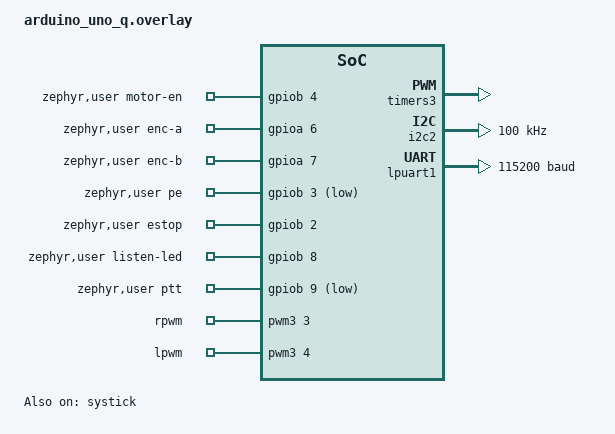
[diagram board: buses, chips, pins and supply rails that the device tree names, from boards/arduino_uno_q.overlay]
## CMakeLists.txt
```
cmake_minimum_required(VERSION 3.20.0)
find_package(Zephyr REQUIRED HINTS $ENV{ZEPHYR_BASE})
project(eaa_mcu LANGUAGES C CXX)

target_include_directories(app PRIVATE src)
target_sources(app PRIVATE
  src/main.c
  src/proto/crc16.c
  src/proto/cobs.c
  src/proto/b03.c
  src/bridge.c
  src/safety.c
  src/control.c
  src/motor.c
  src/encoder.c
  src/sensors.c
)

if(CONFIG_EAA_VOICE)
  target_sources(app PRIVATE src/voice/voice.c src/voice/audio_out.c)
  if(CONFIG_SOC_SERIES_RP2350)
    target_sources(app PRIVATE src/voice/i2s_in_rp2.c)
  else()
    message(FATAL_ERROR "No microphone driver for this board: implement voice/audio_in.h "
                        "with the Zephyr I2S/DMIC API (e.g. STM32U585 SAI)")
  endif()

  if(CONFIG_EAA_KWS_EDGE_IMPULSE)
    set(EI_DIR ${CMAKE_CURRENT_SOURCE_DIR}/ei-model)
    if(NOT EXISTS ${EI_DIR}/edge-impulse-sdk)
      message(FATAL_ERROR "CONFIG_EAA_KWS_EDGE_IMPULSE=y but ${EI_DIR} has no Edge Impulse export")
    endif()
    # Edge Impulse SDK ships a Zephyr CMake helper that adds the SDK sources to 'app'.
    add_subdirectory(${EI_DIR}/edge-impulse-sdk/cmake/zephyr ei_sdk)
    target_include_directories(app PRIVATE ${EI_DIR})
    file(GLOB EI_MODEL_SRC ${EI_DIR}/tflite-model/*.cpp)
    target_sources(app PRIVATE ${EI_MODEL_SRC} src/voice/kws_ei.cpp)
    target_compile_definitions(app PRIVATE
      EI_CLASSIFIER_SLICES_PER_MODEL_WINDOW=4
      EI_CLASSIFIER_TFLITE_ENABLE_CMSIS_NN=1)
  elseif(NOT CONFIG_EAA_KWS_TFLM)
    target_sources(app PRIVATE src/voice/kws_stub.c)
  endif()
endif()

# Wake word "Hey Edgie": MFCC + energy VAD + DS-CNN int8 on TFLite Micro / CMSIS-NN.
if(CONFIG_EAA_KWS_TFLM)
  target_sources(app PRIVATE
    src/voice/kws_frontend.c
    src/voice/kws_pipeline.c
    src/voice/kws_engine.cpp
    src/voice/model/kws_s.cc
    src/voice/model/kws_xs.cc)
  if(CONFIG_EAA_KWS_CMSIS_DSP)
    target_compile_definitions(app PRIVATE KWS_FE_CMSIS_DSP)
  endif()
  if(CONFIG_EAA_KWS_CODE_IN_RAM)
    # RP2350 executes from QSPI flash through a 16 KB XIP cache; the hot DSP / NN
    # kernels and the front end are copied to SRAM at boot instead.
    # Only the files on the hot path (relocating whole libraries drags every
    # object and its tables into RAM). Code goes to SRAM, constant tables stay in flash.
    set(NN ${ZEPHYR_CMSIS_NN_MODULE_DIR}/Source)
    set(DSP ${ZEPHYR_CMSIS_DSP_MODULE_DIR}/Source)
    file(GLOB KWS_HOT_NN ${NN}/ConvolutionFunctions/*.c ${NN}/NNSupportFunctions/*.c
         ${NN}/FullyConnectedFunctions/*.c)
    zephyr_code_relocate(FILES ${CMAKE_CURRENT_SOURCE_DIR}/src/voice/kws_frontend.c
                         ${DSP}/TransformFunctions/arm_rfft_fast_f32.c
                         ${DSP}/TransformFunctions/arm_cfft_f32.c
                         ${DSP}/TransformFunctions/arm_cfft_radix8_f32.c
                         ${DSP}/TransformFunctions/arm_bitreversal2.c
                         ${DSP}/ComplexMathFunctions/arm_cmplx_mag_squared_f32.c
                         ${KWS_HOT_NN}
                         LOCATION RAM_TEXT)
  endif()
  if(CONFIG_EAA_KWS_BENCH)
    target_sources(app PRIVATE src/voice/kws_bench.c src/voice/model/kws_bench_clips.cc
        src/voice/model/kws_ei.cc src/voice/model/kws_tiny.cc
        src/voice/model/kws_cnn.cc src/voice/model/kws_tcres8.cc)
  endif()
endif()
```

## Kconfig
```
# EAA MCU firmware options. Defaults follow orchestrator:src/control_pipeline/config_example.yaml
# and the B-03 v1.1 timers. Board-independent: the same values are used on the STM32U585 later.

mainmenu "EAA MCU firmware (B-03 v1.1)"

source "Kconfig.zephyr"

menu "EAA firmware"

config EAA_FW_VERSION
	hex "Firmware version reported in HELLO_ACK"
	default 0x0100

menu "Link and safety timers"

config EAA_HB_TIMEOUT_MS
	int "MPU heartbeat watchdog (ms)"
	default 300
	help
	  No HEARTBEAT/HELLO for this long: HB_VALID is cleared and a running
	  belt goes to SAFE_STOP with event HEARTBEAT_TIMEOUT (same as mock_mcu.py).

config EAA_TELEMETRY_PERIOD_MS
	int "TELEMETRY period (ms)"
	default 50

config EAA_EVENT_RETX_MS
	int "Event retransmit interval until EVENT_ACK (ms)"
	default 100

config EAA_EVENT_RETX_MAX
	int "Maximum retransmissions per event"
	default 20

config EAA_HW_WATCHDOG_MS
	int "Hardware watchdog timeout (ms), 0 = disabled"
	default 500

endmenu

menu "Motor and limits"

config EAA_CONTROL_PERIOD_US
	int "Control loop period (us)"
	default 10000
	help
	  10000 us = 100 Hz. Chosen from the belt, not from the stop path:
	  - this phase is open loop (no encoder): the loop only ramps the setpoint
	    (250 mm/s per s -> 2.5 mm/s per tick, smooth) and keeps the driver
	    off in SAFE_STOP; a geared 24 V belt responds in tens of ms, so
	    100 Hz is >= 3x faster than anything the belt can follow;
	  - the hard stop (T1) does not wait for this loop: safety trips and the
	    E-stop interrupt cut the driver directly (motor_kill).
	  NFR-01 jitter <= 1 ms is 10 % of this period. Derivation and the
	  numbers to re-check once the belt is measured: REPORT.md section
	  "Control loop rate". 5000 (200 Hz) still builds and passes the tests.

config EAA_PWM_PERIOD_NS
	int "Motor PWM period (ns)"
	default 50000
	help
	  50000 ns = 20 kHz, above the audible range, within BTS7960 limits.

config EAA_MIN_SPEED_MMS
	int "Minimum accepted setpoint (mm/s)"
	default 50

config EAA_MAX_SPEED_MMS
	int "Maximum accepted setpoint (mm/s)"
	default 500

config EAA_RAMP_MMS_PER_S
	int "Setpoint ramp (mm/s per second)"
	default 250

config EAA_OPENLOOP_PWM_OFFSET_PM
	int "Open-loop feed-forward: PWM offset (per mille)"
	default 100

config EAA_OPENLOOP_PWM_GAIN_X100
	int "Open-loop feed-forward: PWM per mille per mm/s, x100"
	default 180
	help
	  pwm_pm = offset + gain/100 * setpoint_mms. Calibrate on the belt
	  (measure mm/s at several duty values) until the encoder is fitted.

config EAA_MAX_PWM_PM
	int "PWM ceiling (per mille)"
	default 950

config EAA_MAX_CURRENT_MA
	int "Overcurrent trip (mA), invariant I-3"
	default 2500

config EAA_OVERCURRENT_FILTER_MS
	int "Overcurrent must last this long before a trip (ms)"
	default 60
	help
	  Ignores the motor start-up current spike.

config EAA_MAX_TEMP_C10
	int "Overtemperature trip (0.1 degC)"
	default 800

config EAA_JAM_TIMEOUT_MS
	int "Photoelectric sensor blocked this long while running = jam (ms)"
	default 3000

endmenu

menu "Encoder"

config EAA_ENCODER
	bool "Quadrature encoder fitted (closed-loop speed)"
	default n
	help
	  CH-107: the encoder is not fitted yet. When n, speed is open-loop and
	  the reported speed_mms is the ramped setpoint (an estimate).

config EAA_ENC_COUNTS_PER_REV
	int "Encoder counts per roller revolution (x4 decoding)"
	default 2400
	depends on EAA_ENCODER

config EAA_ROLLER_CIRC_UM
	int "Drive roller circumference (um)"
	default 100000
	depends on EAA_ENCODER

config EAA_SPEED_KP_X1000
	int "Speed PI: Kp (per mille PWM per mm/s, x1000)"
	default 800
	depends on EAA_ENCODER

config EAA_SPEED_KI_X1000
	int "Speed PI: Ki (per mille PWM per mm/s per s, x1000)"
	default 2000
	depends on EAA_ENCODER

endmenu

menu "Sensors"

config EAA_INA226
	bool "INA226 current sensor on the sensor I2C bus"
	default y

config EAA_INA226_ADDR
	hex "INA226 I2C address"
	default 0x40
	depends on EAA_INA226

config EAA_INA226_SHUNT_MOHM
	int "INA226 shunt resistor (milliohm)"
	default 10
	depends on EAA_INA226

config EAA_MLX90614
	bool "MLX90614 IR temperature sensor on the sensor I2C bus"
	default y

config EAA_MLX90614_ADDR
	hex "MLX90614 I2C address"
	default 0x5A
	depends on EAA_MLX90614

config EAA_REQUIRE_SENSORS
	bool "Block RUN when a fitted sensor is missing or failing"
	default y
	help
	  Set to n only on the bench before the sensors arrive. Never on the rig.

endmenu

menu "Voice front end (CH-103)"

config EAA_VOICE
	bool "Microphone, keyword spotter and command audio channel"
	default y
	select RING_BUFFER

config EAA_AUDIO_SAMPLE_RATE
	int "Microphone sample rate (Hz)"
	default 16000
	depends on EAA_VOICE

config EAA_I2S_PIN_BCK
	int "I2S bit clock GPIO (word select is the next GPIO)"
	default 12
	depends on EAA_VOICE

config EAA_I2S_PIN_SD
	int "I2S data-in GPIO"
	default 14
	depends on EAA_VOICE

config EAA_MIC_GAIN_SHIFT
	int "24-bit to 16-bit conversion right shift (smaller = louder)"
	default 7
	range 0 8
	depends on EAA_VOICE

config EAA_CMD_WINDOW_MS
	int "Command audio window after the wake word (ms)"
	default 5000
	depends on EAA_VOICE

config EAA_KWS_TFLM
	bool "On-device wake word 'Hey Edgie' (TFLite Micro DS-CNN, CMSIS-NN)"
	default y
	select TENSORFLOW_LITE_MICRO
	select TENSORFLOW_LITE_MICRO_CMSIS_NN_KERNELS
	help
	  Always-on wake-word pipeline on the MCU (embedded/kws/README.md).
	  Independent of EAA_VOICE so the model can be benchmarked with
	  "kws bench" on a board without a microphone (e.g. the UNO Q).

if EAA_KWS_TFLM

choice EAA_KWS_MODEL
	prompt "Wake-word model used live"
	default EAA_KWS_MODEL_S

config EAA_KWS_MODEL_S
	bool "DS-CNN-S (64 channels, 4 blocks)"

config EAA_KWS_MODEL_XS
	bool "DS-CNN-XS (32 channels, 3 blocks)"

endchoice

config EAA_KWS_STRIDE_HOPS
	int "Run the model every N hops of 20 ms"
	default 5
	range 4 12
	help
	  Wake latency is the priority. Measured on the Pico 2: DS-CNN-S takes
	  ~65 ms per run, so 5 hops (100 ms) uses ~65 % of the core while someone
	  speaks (0 % in silence, the VAD gate stops it). The motor loop and the
	  safety/link threads have higher priority, so they are not delayed.
	  Stream test (kws/eval_stream.py, held-out voices), with threshold 95:
	  wake latency after the phrase p50 80 ms / p90 233 ms, FRR 9.0 %,
	  19.8 false wakes/h of non-stop speech. The old 10 hops + threshold 80:
	  p50 222 / p90 336 ms, FRR 10.8 %, 19.8 /h. Below 4 hops the 65 ms model
	  would not fit between runs.

config EAA_KWS_SMOOTH
	int "Average of the last N model scores"
	default 2
	range 1 8

config EAA_KWS_VAD_DB
	int "VAD: frame energy above the noise floor that counts as speech (dB)"
	default 9

config EAA_KWS_ARENA_KB
	int "TFLite Micro tensor arena (KiB)"
	default 32

config EAA_KWS_MODEL_RAM_KB
	int "Copy the live model to SRAM (KiB buffer, 0 = run from flash)"
	default 80 if EAA_KWS_BENCH
	default 48
	help
	  48 KiB fits DS-CNN-S (44.9 KB). The bench build uses 80 KiB so the
	  bigger comparison models (CNN-S, TC-ResNet8) also run from SRAM.

config EAA_KWS_CODE_IN_RAM
	bool "Run the MFCC, CMSIS-DSP and CMSIS-NN code from SRAM"
	default n
	select CODE_DATA_RELOCATION
	help
	  Measured on the Pico 2: no gain (DS-CNN-S 62.9 ms either way, MFCC
	  unchanged) for +75 KB of SRAM, so it stays off. Kept for the record.

config EAA_KWS_CMSIS_DSP
	bool "CMSIS-DSP real FFT for the MFCC (else portable C FFT)"
	default y
	select CMSIS_DSP
	select CMSIS_DSP_TRANSFORM
	select CMSIS_DSP_COMPLEXMATH

config EAA_KWS_BENCH
	bool "Benchmark clips in flash + 'kws bench' / 'kws stream' shell commands"
	default y

endif

config EAA_RP2350_DSP
	bool "Enable the Cortex-M33 DSP extension on the RP2350"
	default y
	depends on SOC_SERIES_RP2350
	select ARMV8_M_DSP
	help
	  The RP2350's Cortex-M33 has the DSP (SIMD) extension, but Zephyr v4.2
	  builds it with -mcpu=cortex-m33+nodsp, so CMSIS-NN falls back to plain
	  C kernels (measured: DS-CNN-S 89.8 ms -> see the report). The STM32U585
	  SoC selects ARMV8_M_DSP itself.

config EAA_KWS_THRESHOLD_PCT
	int "Keyword confidence needed to act (%)"
	default 95 if EAA_KWS_TFLM
	default 80
	depends on EAA_VOICE || EAA_KWS_TFLM

config EAA_KWS_EDGE_IMPULSE
	bool "Use the Edge Impulse C++ model in firmware/ei-model/"
	default n
	depends on EAA_VOICE && !EAA_KWS_TFLM
	help
	  When n, a stub detector is used: the push-to-talk button (or the
	  shell command "eaa wake") opens the command window, and spoken
	  "stop" is not detected. Export the trained model as a C++ library
	  into firmware/ei-model/ and set this to y.

config EAA_KWS_LABEL_WAKE
	string "Edge Impulse label of the wake phrase"
	default "wake"
	depends on EAA_KWS_EDGE_IMPULSE

config EAA_KWS_LABEL_STOP
	string "Edge Impulse label of the stop word"
	default "stop"
	depends on EAA_KWS_EDGE_IMPULSE

config EAA_KWS_MODEL_VER
	hex "Model version reported in VOICE_EVENT"
	default 0x0001
	depends on EAA_VOICE

endmenu

endmenu
```

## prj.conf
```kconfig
# Board-independent configuration (also meant for the STM32U585 later).
CONFIG_GPIO=y
CONFIG_PWM=y
CONFIG_I2C=y
CONFIG_SERIAL=y
CONFIG_UART_INTERRUPT_DRIVEN=y
CONFIG_WATCHDOG=y
CONFIG_RING_BUFFER=y
CONFIG_FPU=y

CONFIG_MAIN_STACK_SIZE=2048
CONFIG_SYSTEM_WORKQUEUE_STACK_SIZE=2048
CONFIG_ISR_STACK_SIZE=2048
CONFIG_HEAP_MEM_POOL_SIZE=8192

CONFIG_LOG=y
CONFIG_LOG_MODE_DEFERRED=y
CONFIG_LOG_BACKEND_UART=y

CONFIG_SHELL=y
CONFIG_SHELL_BACKEND_SERIAL=y
CONFIG_SHELL_LOG_BACKEND=n
CONFIG_SHELL_STACK_SIZE=4096

CONFIG_CPP=y
CONFIG_STD_CPP17=y

# Wake word (TFLite Micro needs the full C++ library)
CONFIG_REQUIRES_FULL_LIBCPP=y
# -O2 instead of -Os: MFCC + CMSIS-NN kernels run ~2x faster, flash is plentiful
CONFIG_SPEED_OPTIMIZATIONS=y
```

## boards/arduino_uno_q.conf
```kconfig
# UNO Q (STM32U585) specifics.
# SysTick instead of LPTIM1 as the system timer (see arduino_uno_q.overlay), 10 kHz tick
# so the 5 ms control period is exactly 50 ticks.
CONFIG_STM32_LPTIM_TIMER=n
CONFIG_CORTEX_M_SYSTICK=y
CONFIG_SYS_CLOCK_TICKS_PER_SEC=10000

# No microphone driver for the STM32U585 yet (needs a Zephyr SAI/I2S version of
# voice/audio_in.h and a check that SAI pins reach a header, CH-103).
CONFIG_EAA_VOICE=n
```

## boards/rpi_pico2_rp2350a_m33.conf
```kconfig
# Pico 2 only: USB CDC ACM (console + audio channel), PIO for the microphone.
CONFIG_USB_DEVICE_STACK=y
CONFIG_USB_DEVICE_PRODUCT="EAA MCU (Pico 2)"
CONFIG_USB_DEVICE_PID=0x0001
CONFIG_USB_DEVICE_INITIALIZE_AT_BOOT=n
CONFIG_UART_LINE_CTRL=y
CONFIG_USB_DRIVER_LOG_LEVEL_ERR=y
CONFIG_USB_DEVICE_LOG_LEVEL_ERR=y
CONFIG_USB_CDC_ACM_LOG_LEVEL_OFF=y
```

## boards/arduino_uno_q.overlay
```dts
/*
 * EAA MCU pin map on the Arduino UNO Q (STM32U585, the real target).
 * Same node/property names as rpi_pico2_rp2350a_m33.overlay, so the C code is unchanged.
 * Pins are on the UNO R3-style header so the Pico 2 wiring maps 1:1.
 *
 *  Function              Pico 2   UNO Q header   STM32U585
 *  B-03 link to MPU      GP0/GP1  (internal)     LPUART1 PG7/PG8 -> Linux side (ttyHS1)
 *  BTS7960 RPWM          GP2      D3             PB0  TIM3_CH3
 *  BTS7960 LPWM          GP3      D6             PB1  TIM3_CH4
 *  BTS7960 R_EN+L_EN     GP4      D8             PB4  (10k pull-down to GND)
 *  encoder A / B         GP6/GP7  A2 / A3        PA6 / PA7
 *  I2C SDA / SCL         GP8/GP9  SDA / SCL      PB11 / PB10  I2C2 (100 kHz, MLX90614)
 *  E18-D80NK beam        GP10     D2             PB3
 *  E-stop aux NC         GP11     D7             PB2
 *  listening LED         GP15     D9             PB8
 *  push-to-talk          GP16     D10            PB9
 *  heartbeat LED         GP25     on-board RGB LED3 green
 *  console / shell       USB CDC0 D0/D1          USART1 PB7/PB6
 *  microphone            GP12-14  not mapped yet (SAI pins on JMISC must be checked, CH-103)
 */

/ {
	chosen {
		eaa,bridge-uart = &lpuart1;
		eaa,sensor-i2c = &i2c2;
		/* 200 Hz control loop needs a fine tick: use SysTick (160 MHz) instead of
		 * the board's 32 kHz LPTIM1 (4096 ticks/s -> a 5 ms period becomes 5.13 ms). */
		/delete-property/ zephyr,system-timer;
	};

	zephyr,user {
		pwms = <&pwm3 3 PWM_NSEC(50000) PWM_POLARITY_NORMAL>,
		       <&pwm3 4 PWM_NSEC(50000) PWM_POLARITY_NORMAL>;
		pwm-names = "rpwm", "lpwm";
		motor-en-gpios = <&gpiob 4 GPIO_ACTIVE_HIGH>;
		enc-a-gpios = <&gpioa 6 GPIO_PULL_UP>;
		enc-b-gpios = <&gpioa 7 GPIO_PULL_UP>;
		pe-gpios = <&gpiob 3 (GPIO_ACTIVE_LOW | GPIO_PULL_UP)>;
		estop-gpios = <&gpiob 2 (GPIO_ACTIVE_HIGH | GPIO_PULL_UP)>;
		listen-led-gpios = <&gpiob 8 GPIO_ACTIVE_HIGH>;
		ptt-gpios = <&gpiob 9 (GPIO_ACTIVE_LOW | GPIO_PULL_UP)>;
	};
};

&lptim1 {
	status = "disabled";
};

&systick {
	status = "okay";
};

&timers3 {
	status = "okay";
	st,prescaler = <0>;

	pwm3: pwm {
		pinctrl-0 = <&tim3_ch3_pb0 &tim3_ch4_pb1>;
		pinctrl-names = "default";
		status = "okay";
	};
};

&i2c2 {
	clock-frequency = <I2C_BITRATE_STANDARD>; /* MLX90614 SMBus: 100 kHz max */
};

&lpuart1 {
	current-speed = <115200>;
};

/* Free header pins used above */
&spi2 {
	status = "disabled"; /* PB9 = push-to-talk */
};

&adc1 {
	status = "disabled"; /* PA6/PA7 = encoder */
};
```

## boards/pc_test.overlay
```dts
/*
 * PC hardware-in-the-loop test build (Pico 2 plugged into a PC, nothing else wired).
 * Applied on top of rpi_pico2_rp2350a_m33.overlay by:  .\build.ps1 pctest
 *
 *  - B-03 bridge moves from UART0 to the second USB CDC ACM port, so the PC plays the
 *    role of the Pi (embedded/pi/hil_test.py, link_test.py). The command-audio channel
 *    is switched off in this build. (A third CDC ACM port was tried: with the legacy
 *    Zephyr USB stack on the RP2350 its OUT endpoint never accepted host data.)
 *  - E-stop and photoelectric inputs are inverted so that unwired pins (pulled up)
 *    read "E-stop closed" and "beam clear". Shorting GP11 to GND therefore means
 *    "E-stop pressed" in this build only. NEVER use this build on the rig.
 */

/ {
	chosen {
		eaa,bridge-uart = &cdc_acm_audio;
		/delete-property/ eaa,audio-uart;
	};

	zephyr,user {
		estop-gpios = <&gpio0 11 (GPIO_ACTIVE_LOW | GPIO_PULL_UP)>;
		pe-gpios = <&gpio0 10 (GPIO_ACTIVE_LOW | GPIO_PULL_UP)>;
	};
};
```

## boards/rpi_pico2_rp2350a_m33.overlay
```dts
/*
 * EAA MCU pin map on the Raspberry Pi Pico 2 (stand-in for the UNO Q STM32U585).
 * Porting: write the same nodes/properties for the UNO Q MCU board; the C code
 * only uses the names below (zephyr,user properties and the eaa,* chosen nodes).
 *
 *  GP0  UART0 TX  -> Pi 3B GPIO15 RXD (pin 10)      B-03 control link, 115200 8N1
 *  GP1  UART0 RX  <- Pi 3B GPIO14 TXD (pin 8)
 *  GP2  PWM1A     -> BTS7960 RPWM (20 kHz)
 *  GP3  PWM1B     -> BTS7960 LPWM (held at 0)
 *  GP4  output    -> BTS7960 R_EN + L_EN (external 10k pull-down to GND)
 *  GP6  input     <- encoder A  (only with CONFIG_EAA_ENCODER=y)
 *  GP7  input     <- encoder B
 *  GP8  I2C0 SDA  <-> INA226 + MLX90614 (4.7k pull-ups to 3V3)
 *  GP9  I2C0 SCL
 *  GP10 input     <- E18-D80NK output (pull-up to 3V3, low = object/beam blocked)
 *  GP11 input     <- E-stop auxiliary NC contact to GND (high = contact open = E-stop)
 *  GP12 PIO       -> I2S BCK  (mic SCK)
 *  GP13 PIO       -> I2S WS   (mic WS/LRCL)
 *  GP14 PIO       <- I2S SD   (mic SD)
 *  GP15 output    -> "listening" LED
 *  GP16 input     <- push-to-talk button to GND (test aid)
 *  GP25 on-board LED: heartbeat (slow = OK, fast = SAFE_STOP)
 *  USB  CDC ACM 0 = console/shell/log, CDC ACM 1 = command audio to the Pi
 */

/ {
	chosen {
		zephyr,console = &cdc_acm_console;
		zephyr,shell-uart = &cdc_acm_console;
		eaa,bridge-uart = &uart0;
		eaa,audio-uart = &cdc_acm_audio;
		eaa,sensor-i2c = &i2c0;
	};

	zephyr,user {
		pwms = <&pwm 2 PWM_NSEC(50000) PWM_POLARITY_NORMAL>,
		       <&pwm 3 PWM_NSEC(50000) PWM_POLARITY_NORMAL>;
		pwm-names = "rpwm", "lpwm";
		motor-en-gpios = <&gpio0 4 GPIO_ACTIVE_HIGH>;
		enc-a-gpios = <&gpio0 6 GPIO_PULL_UP>;
		enc-b-gpios = <&gpio0 7 GPIO_PULL_UP>;
		pe-gpios = <&gpio0 10 (GPIO_ACTIVE_LOW | GPIO_PULL_UP)>;
		estop-gpios = <&gpio0 11 (GPIO_ACTIVE_HIGH | GPIO_PULL_UP)>;
		listen-led-gpios = <&gpio0 15 GPIO_ACTIVE_HIGH>;
		ptt-gpios = <&gpio0 16 (GPIO_ACTIVE_LOW | GPIO_PULL_UP)>;
	};
};

&pinctrl {
	i2c0_default: i2c0_default {
		group1 {
			pinmux = <I2C0_SDA_P8>, <I2C0_SCL_P9>;
			input-enable;
			input-schmitt-enable;
		};
	};

	pwm_motor_default: pwm_motor_default {
		group1 {
			pinmux = <PWM_1A_P2>, <PWM_1B_P3>;
		};
	};
};

&uart0 {
	current-speed = <115200>;
	status = "okay";
};

&i2c0 {
	/* MLX90614 SMBus: 100 kHz max */
	clock-frequency = <I2C_BITRATE_STANDARD>;
	status = "okay";
};

/* GP6/GP7 are used by the encoder */
&i2c1 {
	status = "disabled";
};

&pwm {
	status = "okay";
	pinctrl-0 = <&pwm_motor_default>;
	pinctrl-names = "default";
	divider-int-1 = <1>;
};

&pio0 {
	status = "okay";
};

&wdt0 {
	status = "okay";
};

&zephyr_udc0 {
	cdc_acm_console: cdc_acm_console {
		compatible = "zephyr,cdc-acm-uart";
	};

	cdc_acm_audio: cdc_acm_audio {
		compatible = "zephyr,cdc-acm-uart";
	};
};
```

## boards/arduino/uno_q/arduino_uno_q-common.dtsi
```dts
/*
 * Copyright (c) 2021 Linaro Limited
 * Copyright (c) 2024 STMicroelectronics
 * Copyright (c) 2025 Arduino SA
 *
 * SPDX-License-Identifier: Apache-2.0
 */

#include <st/u5/stm32u585Xi.dtsi>
#include <st/u5/stm32u585aiixq-pinctrl.dtsi>
#include "arduino_r3_connector.dtsi"
#include <zephyr/dt-bindings/input/input-event-codes.h>

/ {
	chosen {
		zephyr,system-timer = &lptim1;
	};

	leds {
		compatible = "gpio-leds";

		led3_red: led3_red {
			gpios = <&gpioh 10 GPIO_ACTIVE_LOW>;
			label = "RGB LED 3 Red";
		};

		led3_green: led3_green {
			gpios = <&gpioh 11 GPIO_ACTIVE_LOW>;
			label = "RGB LED 3 Green";
		};

		led3_blue: led3_blue {
			gpios = <&gpioh 12 GPIO_ACTIVE_LOW>;
			label = "RGB LED 3 Blue";
		};

		led4_red: led4_red {
			gpios = <&gpioh 13 GPIO_ACTIVE_LOW>;
			label = "RGB LED 4 Red";
		};

		led4_green: led4_green {
			gpios = <&gpioh 14 GPIO_ACTIVE_LOW>;
			label = "RGB LED 4 Green";
		};

		led4_blue: led4_blue {
			gpios = <&gpioh 15 GPIO_ACTIVE_LOW>;
			label = "RGB LED 4 Blue";
		};
	};

	aliases {
		watchdog0 = &iwdg;
		die-temp0 = &die_temp;
		volt-sensor0 = &vref1;
		volt-sensor1 = &vbat4;
	};
};

&clk_hsi48 {
	status = "okay";
};

&clk_hse {
	clock-frequency = <DT_FREQ_M(16)>;
	status = "okay";
};

&clk_lse {
	clock-frequency = <32768>;
	status = "okay";
};

&clk_msis {
	msi-range = <4>;
	msi-pll-mode;
	status = "okay";
};

&pll1 {
	div-m = <1>;
	mul-n = <80>;
	div-q = <2>;
	div-r = <2>;
	clocks = <&clk_msis>;
	status = "okay";
};

&rcc {
	clocks = <&pll1>;
	clock-frequency = <DT_FREQ_M(160)>;
	ahb-prescaler = <1>;
	apb1-prescaler = <1>;
	apb2-prescaler = <1>;
	apb3-prescaler = <1>;
};

&lptim1 {
	clocks = <&rcc STM32_CLOCK(APB3, 11)>,
		 <&rcc STM32_SRC_LSE LPTIM1_SEL(3)>;
	status = "okay";
};

&lpuart1 {
	pinctrl-0 = <&lpuart1_tx_pg7 &lpuart1_rx_pg8 &lpuart1_rts_pg6 &lpuart1_cts_pg5>;
	pinctrl-names = "default";
	current-speed = <115200>;
	status = "okay";
};

&usart1 {
	pinctrl-0 = <&usart1_tx_pb6 &usart1_rx_pb7>;
	pinctrl-names = "default";
	current-speed = <115200>;
	status = "okay";
};

&i2c2 {
	pinctrl-0 = <&i2c2_scl_pb10 &i2c2_sda_pb11>;
	pinctrl-names = "default";
	scl-gpios = <&gpiob 10 GPIO_ACTIVE_HIGH>;
	sda-gpios = <&gpiob 11 GPIO_ACTIVE_HIGH>;
	clock-frequency = <I2C_BITRATE_FAST>;
	status = "okay";
};

&i2c4 {
	pinctrl-0 = <&i2c4_scl_pd12 &i2c4_sda_pd13>;
	/* use      <&i2c4_scl_pf14 &i2c4_sda_pf15> for the JMISC connector */
	pinctrl-names = "default";
	scl-gpios = <&gpiod 12 GPIO_ACTIVE_HIGH>;
	sda-gpios = <&gpiod 13 GPIO_ACTIVE_HIGH>;
	clock-frequency = <I2C_BITRATE_FAST>;
	status = "okay";
};

&spi2 {
	pinctrl-0 = <&spi2_sck_pb13 &spi2_miso_pb14 &spi2_mosi_pb15 &spi2_nss_pb9>;
	/* use      <&spi2_sck_pd1 &spi2_miso_pc2 &spi2_mosi_pc3> for the ICSP connector */
	pinctrl-names = "default";
	status = "okay";
};

&spi3 {
	pinctrl-0 = <&spi3_sck_pg9 &spi3_miso_pg10 &spi3_mosi_pb5 &spi3_nss_pg12>;
	pinctrl-names = "default";
	status = "okay";
};

&aes {
	status = "okay";
};

&rng {
	status = "okay";
};

zephyr_udc0: &usbotg_fs {
	pinctrl-0 = <&usb_otg_fs_dm_pa11 &usb_otg_fs_dp_pa12>;
	pinctrl-names = "default";
	status = "disabled";
};

&adc1 {
	pinctrl-0 = <&adc1_in9_pa4
		     &adc1_in10_pa5
		     &adc1_in11_pa6
		     &adc1_in12_pa7
		     &adc1_in2_pc1
		     &adc1_in1_pc0>;
	pinctrl-names = "default";
	st,adc-clock-source = "ASYNC"; /* EAA: v4.2 binding */
	st,adc-prescaler = <4>;

	#address-cells = <1>;
	#size-cells = <0>;
	status = "okay";

	channel@1 {
		reg = <1>;
		zephyr,gain = "ADC_GAIN_1";
		zephyr,reference = "ADC_REF_INTERNAL";
		zephyr,acquisition-time = <ADC_ACQ_TIME_MAX>;
		zephyr,resolution = <14>;
	};

	channel@2 {
		reg = <2>;
		zephyr,gain = "ADC_GAIN_1";
		zephyr,reference = "ADC_REF_INTERNAL";
		zephyr,acquisition-time = <ADC_ACQ_TIME_MAX>;
		zephyr,resolution = <14>;
	};

	channel@9 {
		reg = <9>;
		zephyr,gain = "ADC_GAIN_1";
		zephyr,reference = "ADC_REF_INTERNAL";
		zephyr,acquisition-time = <ADC_ACQ_TIME_MAX>;
		zephyr,resolution = <14>;
	};

	channel@a {
		reg = <10>;
		zephyr,gain = "ADC_GAIN_1";
		zephyr,reference = "ADC_REF_INTERNAL";
		zephyr,acquisition-time = <ADC_ACQ_TIME_MAX>;
		zephyr,resolution = <14>;
	};

	channel@b {
		reg = <11>;
		zephyr,gain = "ADC_GAIN_1";
		zephyr,reference = "ADC_REF_INTERNAL";
		zephyr,acquisition-time = <ADC_ACQ_TIME_MAX>;
		zephyr,resolution = <14>;
	};

	channel@c {
		reg = <12>;
		zephyr,gain = "ADC_GAIN_1";
		zephyr,reference = "ADC_REF_INTERNAL";
		zephyr,acquisition-time = <ADC_ACQ_TIME_MAX>;
		zephyr,resolution = <14>;
	};
};

&adc4 {
	/* needed by vbat */
	st,adc-clock-source = "ASYNC"; /* EAA: v4.2 binding */
	st,adc-prescaler = <4>;
	status = "okay";
};

&die_temp {
	status = "okay";
};

&dac1 {
	pinctrl-0 = <&dac1_out1_pa4 &dac1_out2_pa5>;
	pinctrl-names = "default";
	status = "okay";
};

&rtc {
	clocks = <&rcc STM32_CLOCK(APB3, 21)>,
		 <&rcc STM32_SRC_LSE RTC_SEL(1)>;
	status = "okay";
};

&iwdg {
	status = "okay";
};

&vref1 {
	status = "okay";
};

&vbat4 {
	status = "okay";
};

&gpiog {
	status = "okay";
};

/* EAA: the 13x8 charlieplexed LED matrix node of upstream Zephyr main was removed here,
 * because its driver/binding does not exist in Zephyr v4.2. */
```

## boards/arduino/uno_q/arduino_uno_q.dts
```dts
/*
 * Copyright (c) 2025 Arduino SA
 *
 * SPDX-License-Identifier: Apache-2.0
 */

/dts-v1/;
#include "arduino_uno_q-common.dtsi"
#include <zephyr/dt-bindings/memory-attr/memory-attr.h>
#include <zephyr/dt-bindings/memory-attr/memory-attr-arm.h>

/ {
	compatible = "arduino,uno_q";
	model = "Arduino UNO Q";

	chosen {
		zephyr,console = &usart1;
		zephyr,shell-uart = &usart1;
		zephyr,sram = &sram0;
		zephyr,flash = &flash0;
		zephyr,code-partition = &slot0_partition;
	};

	aliases {
		led0 = &led3_green;
		led1 = &led3_red;
		die-temp0 = &die_temp;
	};
};

&flash0 {
	partitions {
		compatible = "fixed-partitions";
		#address-cells = <1>;
		#size-cells = <1>;

		/*
		 * Following flash partition is dedicated to the use of stm32u585
		 * with TZEN=0 (so w/o TFM).
		 * Set the partitions with first MB to make use of the whole Bank1
		 */
		boot_partition: partition@0 {
			reg = <0x00000000 DT_SIZE_K(64)>;
			label = "mcuboot";
		};

		slot0_partition: partition@10000 {
			reg = <0x00010000 DT_SIZE_K(416)>;
			label = "image-0";
		};

		slot1_partition: partition@78000 {
			reg = <0x00078000 DT_SIZE_K(416)>;
			label = "image-1";
		};

		storage_partition: partition@e0000 {
			reg = <0x000e0000 DT_SIZE_K(128)>;
			label = "storage";
		};
	};
};

&gpdma1 {
	status = "okay";
};

&adc1 {
	status = "okay";
};
```

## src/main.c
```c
/* EAA MCU firmware - Raspberry Pi Pico 2 (RP2350, Cortex-M33, Zephyr) as a stand-in
 * for the STM32U585 MCU of the Arduino UNO Q (CH-235). Single core, Zephyr, same
 * portable APIs as the UNO Q MCU; only the devicetree overlay and voice/i2s_in_rp2.c
 * are board-specific.
 *
 * Threads (higher first):  control 200 Hz (coop) > safety 100 Hz > bridge > sensors 50 Hz
 *                          > voice / keyword spotter > shell / logging
 */
#include <stdlib.h>
#include <zephyr/kernel.h>
#include <zephyr/drivers/gpio.h>
#include <zephyr/logging/log.h>
#include <zephyr/shell/shell.h>
#include <zephyr/usb/usb_device.h>
#include "eaa.h"

LOG_MODULE_REGISTER(main, LOG_LEVEL_INF);

static const struct gpio_dt_spec status_led = GPIO_DT_SPEC_GET_OR(DT_ALIAS(led0), gpios, {0});

static void fail(const char *what, int rc)
{
	LOG_ERR("%s init failed (%d) - motor stays disabled", what, rc);
}

int main(void)
{
	int rc;

	if (IS_ENABLED(CONFIG_USB_DEVICE_STACK)) {
		(void)usb_enable(NULL); /* CDC ACM: console + audio channel */
	}
	k_sleep(K_MSEC(200));
	LOG_INF("EAA MCU fw 0x%04x, B-03 v%u, board %s", CONFIG_EAA_FW_VERSION, B03_PROTO_VER,
		CONFIG_BOARD);

	rc = motor_init(); /* first: driver disabled, PWM 0 */
	if (rc) {
		fail("motor", rc);
		return rc;
	}
	if ((rc = encoder_init())) {
		fail("encoder", rc);
	}
	if ((rc = sensors_init())) {
		fail("sensors", rc);
	}
	safety_init();
	if ((rc = bridge_init())) {
		fail("bridge", rc);
	}

	sensors_start();
	safety_start();
	control_start();
	bridge_start();
#if IS_ENABLED(CONFIG_EAA_VOICE)
	if ((rc = voice_init())) {
		fail("microphone", rc);
	}
	voice_start();
#endif

	if (status_led.port) {
		gpio_pin_configure_dt(&status_led, GPIO_OUTPUT_INACTIVE);
	}
	for (;;) { /* heartbeat LED: slow = OK, fast = SAFE_STOP */
		struct eaa_status s;

		safety_get_status(&s);
		if (status_led.port) {
			gpio_pin_toggle_dt(&status_led);
		}
		k_sleep(K_MSEC(s.state == B03_ST_SAFE_STOP ? 100 : 500));
	}
	return 0;
}

/* ---------------- shell: bench tests without the Pi ---------------- */
static const char *state_name(uint8_t s)
{
	static const char *const n[] = { "BOOT", "STOPPED", "RUNNING", "SAFE_STOP" };

	return s < ARRAY_SIZE(n) ? n[s] : "?";
}

static int cmd_status(const struct shell *sh, size_t argc, char **argv)
{
	struct eaa_status s;
	struct eaa_sensors x;
	struct eaa_control_stats c;
	struct eaa_bridge_stats b;

	ARG_UNUSED(argc);
	ARG_UNUSED(argv);
	safety_get_status(&s);
	sensors_get(&x);
	control_get_stats(&c, false);
	bridge_get_stats(&b);
	shell_print(sh, "state %s fault 0x%02x flags 0x%02x setpoint %u mm/s", state_name(s.state),
		    s.fault_reason, s.flags, s.setpoint_mms);
	shell_print(sh, "speed %u mm/s pwm %u/1000", control_speed_mms(), control_pwm_pm());
	char temp[24];

	if (x.temp_c10 == B03_TEMP_NOT_INSTALLED) {
		snprintk(temp, sizeof(temp), "not fitted");
	} else if (x.temp_c10 == B03_TEMP_FAULT) {
		snprintk(temp, sizeof(temp), "FAULT");
	} else {
		snprintk(temp, sizeof(temp), "%d.%d C", x.temp_c10 / 10, abs(x.temp_c10 % 10));
	}
	shell_print(sh, "estop %s, beam %s, current %u mA (%s), bus %u mV, temp %s, ss 0x%02x",
		    x.estop_open ? "OPEN" : "closed", x.pe_blocked ? "BLOCKED" : "clear",
		    x.current_ma,
		    !IS_ENABLED(CONFIG_EAA_INA226) ? "not fitted" : (x.current_ok ? "ok" : "FAULT"),
		    x.bus_mv, temp, x.status);
	shell_print(sh, "control loops %u, jitter max %u us, exec max %u us", c.loops,
		    c.jitter_max_us, c.exec_max_us);
	struct eaa_t1_stats t;

	motor_get_t1(&t, false);
	shell_print(sh, "T1 stops %u, direct last %u max %u us, control-tick path last %u max %u us",
		    t.count, t.last_us, t.max_us, t.loop_last_us, t.loop_max_us);
	shell_print(sh, "link %s rx %u bad_crc %u bad_cobs %u tx %u retx %u pending %u",
		    b.synced ? "synced" : "no HELLO yet", b.rx_frames, b.rx_bad_crc, b.rx_bad_cobs,
		    b.tx_frames, b.retx, b.events_pending);
	shell_print(sh, "uptime %u ms, hw watchdog %s (%d ms), board %s", k_uptime_get_32(),
		    safety_watchdog_active() ? "ON" : "off", CONFIG_EAA_HW_WATCHDOG_MS, CONFIG_BOARD);
	return 0;
}

static int cmd_wdtest(const struct shell *sh, size_t argc, char **argv)
{
	ARG_UNUSED(argc);
	ARG_UNUSED(argv);
	shell_print(sh, "simulating a firmware hang: interrupts off, spinning. "
			"The hardware watchdog must reset the chip within %d ms.",
		    CONFIG_EAA_HW_WATCHDOG_MS);
	k_sleep(K_MSEC(50));
	(void)irq_lock();
	for (;;) {
	}
	return 0;
}

/* eaa t1test: force the E-stop input "open" for 50 ms through the pad override,
 * then release it. The motor must be cut by the interrupt (T1 direct) and the
 * fault stays latched until 'eaa clear'. */
static int cmd_t1test(const struct shell *sh, size_t argc, char **argv)
{
	ARG_UNUSED(argc);
	ARG_UNUSED(argv);
	if (sensors_estop_inject(true) != 0) {
		shell_error(sh, "not supported on this board");
		return -ENOTSUP;
	}
	k_msleep(50);
	sensors_estop_inject(false);
	k_msleep(30);
	struct eaa_t1_stats t;

	motor_get_t1(&t, false);
	shell_print(sh, "T1 direct %u us (max %u), control-tick path %u us (max %u), stops %u",
		    t.last_us, t.max_us, t.loop_last_us, t.loop_max_us, t.count);
	return 0;
}

static int cmd_jitter_reset(const struct shell *sh, size_t argc, char **argv)
{
	struct eaa_control_stats c;

	ARG_UNUSED(argc);
	ARG_UNUSED(argv);
	control_get_stats(&c, true);
	{
		struct eaa_t1_stats t;

		motor_get_t1(&t, true);
	}
	shell_print(sh, "jitter stats reset");
	return 0;
}

static int local_cmd(const struct shell *sh, uint8_t type, uint16_t sp)
{
	static uint16_t id = 0xF000; /* local ids, away from the MPU's range */
	struct b03_cmd c = { .type = type, .cmd_id = id++, .ttl_ms = 500, .setpoint_mms = sp };
	uint8_t reason;
	uint8_t res;

	safety_on_hello(); /* bench mode: act as if the MPU were connected */
	res = safety_handle_cmd(&c, &reason);
	shell_print(sh, "result %u reason 0x%02x", res, reason);
	return 0;
}

static int cmd_run(const struct shell *sh, size_t argc, char **argv)
{
	return local_cmd(sh, B03_MT_RUN, argc > 1 ? (uint16_t)atoi(argv[1]) : 150);
}

static int cmd_stop(const struct shell *sh, size_t argc, char **argv)
{
	ARG_UNUSED(argc);
	ARG_UNUSED(argv);
	return local_cmd(sh, B03_MT_STOP, 0);
}

static int cmd_clear(const struct shell *sh, size_t argc, char **argv)
{
	ARG_UNUSED(argc);
	ARG_UNUSED(argv);
	return local_cmd(sh, B03_MT_CLEAR_FAULT, 0);
}

static int cmd_hb(const struct shell *sh, size_t argc, char **argv)
{
	ARG_UNUSED(argc);
	ARG_UNUSED(argv);
	safety_on_heartbeat();
	shell_print(sh, "heartbeat (valid for %d ms)", CONFIG_EAA_HB_TIMEOUT_MS);
	return 0;
}

#if IS_ENABLED(CONFIG_EAA_VOICE)
static int cmd_wake(const struct shell *sh, size_t argc, char **argv)
{
	ARG_UNUSED(argc);
	ARG_UNUSED(argv);
	voice_simulate_wake();
	shell_print(sh, "simulated wake word");
	return 0;
}

static int cmd_vstop(const struct shell *sh, size_t argc, char **argv)
{
	ARG_UNUSED(argc);
	ARG_UNUSED(argv);
	voice_simulate_stop();
	shell_print(sh, "simulated spoken stop");
	return 0;
}
#endif

#if defined(CONFIG_SOC_SERIES_RP2350)
#include <pico/bootrom.h>

static int cmd_bootsel(const struct shell *sh, size_t argc, char **argv)
{
	ARG_UNUSED(argc);
	ARG_UNUSED(argv);
	shell_print(sh, "rebooting into the USB bootloader (drive RP2350)...");
	motor_apply(false, 0);
	k_sleep(K_MSEC(100));
	unsigned int key = irq_lock();

	ARG_UNUSED(key);
	safety_watchdog_disable(); /* else the armed watchdog resets the chip out of BOOTSEL */
	reset_usb_boot(0, 0);
	return 0;
}
#endif

SHELL_STATIC_SUBCMD_SET_CREATE(eaa_cmds,
#if defined(CONFIG_SOC_SERIES_RP2350)
	SHELL_CMD(bootsel, NULL, "Reboot into the UF2 bootloader (re-flash without the button)",
		  cmd_bootsel),
#endif
	SHELL_CMD(status, NULL, "State, sensors, loop jitter, link counters", cmd_status),
	SHELL_CMD(jreset, NULL, "Reset jitter statistics", cmd_jitter_reset),
	SHELL_CMD(t1test, NULL, "Simulate an E-stop edge (pad override), report T1", cmd_t1test),
	SHELL_CMD(wdtest, NULL, "Hang the firmware on purpose (watchdog reset test)", cmd_wdtest),
	SHELL_CMD_ARG(run, NULL, "run [mm/s]  (bench only: needs 'eaa hb' within 300 ms)",
		      cmd_run, 1, 1),
	SHELL_CMD(stop, NULL, "Controlled stop", cmd_stop),
	SHELL_CMD(clear, NULL, "CLEAR_FAULT", cmd_clear),
	SHELL_CMD(hb, NULL, "Send one local heartbeat", cmd_hb),
#if IS_ENABLED(CONFIG_EAA_VOICE)
	SHELL_CMD(wake, NULL, "Simulate the wake word", cmd_wake),
	SHELL_CMD(vstop, NULL, "Simulate spoken 'stop'", cmd_vstop),
#endif
	SHELL_SUBCMD_SET_END);
SHELL_CMD_REGISTER(eaa, &eaa_cmds, "EAA MCU bench commands", NULL);
```

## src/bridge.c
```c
/* B-03 v1.1 bridge on the chosen "eaa,bridge-uart" (Pico 2: UART0 GP0/GP1 to the Pi 3B).
 *
 * Wire: COBS-encoded frame + 0x00 delimiter (PipeTransport, Profile B) at 115200 8N1.
 * RX: UART interrupt -> ring buffer -> this thread splits on 0x00, decodes, dispatches.
 * TX: only this thread writes to the UART (uart_poll_out), so frames never interleave.
 * Behaviour follows orchestrator:src/control_pipeline/bridge/mock_mcu.py:
 *   HELLO -> HELLO_ACK, HEARTBEAT -> HB_VALID, commands -> CMD_ACK, TELEMETRY every 50 ms,
 *   MCU_EVENT / VOICE_EVENT retransmitted until EVENT_ACK (each retransmit gets a new
 *   frame seq; the event_seq stays the same so the MPU can de-duplicate).
 */
#include <zephyr/kernel.h>
#include <zephyr/device.h>
#include <zephyr/drivers/uart.h>
#include <zephyr/sys/ring_buffer.h>
#include <zephyr/logging/log.h>
#include "eaa.h"
#include "proto/cobs.h"

LOG_MODULE_REGISTER(bridge, LOG_LEVEL_INF);

#define MAX_PENDING 8
#define RX_ENC_MAX  (COBS_MAX_ENCODED(B03_MAX_FRAME) + 4)

static const struct device *const uart = DEVICE_DT_GET(DT_CHOSEN(eaa_bridge_uart));

RING_BUF_DECLARE(rx_ring, 256);
static K_SEM_DEFINE(rx_sem, 0, 1);

struct ev_req {
	bool voice;
	uint8_t kind, reason_or_conf;
	int16_t observed, threshold;
	uint16_t model_ver;
};
K_MSGQ_DEFINE(ev_q, sizeof(struct ev_req), 16, 4);

struct pending {
	bool used;
	uint16_t event_seq;
	struct ev_req req;
	uint8_t mcu_state; /* state when the event happened */
	int64_t last_tx_ms;
	uint8_t tries;
};

static struct pending pend[MAX_PENDING];
static uint16_t tx_seq;
static uint16_t last_rx_seq;
static uint16_t event_seq;
static uint16_t boot_id;
static struct eaa_bridge_stats st;
static struct k_spinlock st_lock;

void bridge_get_stats(struct eaa_bridge_stats *out)
{
	k_spinlock_key_t key = k_spin_lock(&st_lock);

	*out = st;
	out->events_pending = 0;
	for (int i = 0; i < MAX_PENDING; i++) {
		out->events_pending += pend[i].used ? 1 : 0;
	}
	k_spin_unlock(&st_lock, key);
}

void bridge_emit_event(uint8_t kind, uint8_t reason, int16_t observed, int16_t threshold)
{
	struct ev_req r = { .voice = false, .kind = kind, .reason_or_conf = reason,
			    .observed = observed, .threshold = threshold };

	if (k_msgq_put(&ev_q, &r, K_NO_WAIT) != 0) {
		LOG_ERR("event queue full, kind 0x%02x lost", kind);
	}
}

void bridge_emit_voice(uint8_t kind, uint8_t confidence_pct, uint16_t model_ver)
{
	struct ev_req r = { .voice = true, .kind = kind, .reason_or_conf = confidence_pct,
			    .model_ver = model_ver };

	if (k_msgq_put(&ev_q, &r, K_NO_WAIT) != 0) {
		LOG_ERR("event queue full, voice kind %u lost", kind);
	}
}

static void uart_isr(const struct device *dev, void *user)
{
	ARG_UNUSED(user);
	uint8_t buf[32];

	while (uart_irq_update(dev) && uart_irq_is_pending(dev)) {
		if (uart_irq_rx_ready(dev)) {
			int n = uart_fifo_read(dev, buf, sizeof(buf));

			if (n > 0) {
				ring_buf_put(&rx_ring, buf, n);
				k_sem_give(&rx_sem);
			}
		}
	}
}

static void send_frame(struct b03_frame *f)
{
	uint8_t raw[B03_MAX_FRAME];
	uint8_t enc[COBS_MAX_ENCODED(B03_MAX_FRAME) + 1];
	struct eaa_status s;

	safety_get_status(&s);
	f->seq = tx_seq++;
	f->ack = last_rx_seq;
	f->tick_ms = k_uptime_get_32();
	f->flags = s.flags;
	int n = b03_encode(f, raw, sizeof(raw));

	if (n < 0) {
		return;
	}
	size_t m = cobs_encode(raw, (size_t)n, enc);

	enc[m++] = 0x00;
	for (size_t i = 0; i < m; i++) {
		uart_poll_out(uart, enc[i]);
	}
	st.tx_frames++;
}

static void send_event(struct pending *p)
{
	struct b03_frame f;

	if (p->req.voice) {
		b03_pl_voice_event(&f, p->req.kind, p->req.reason_or_conf, p->event_seq,
				   p->mcu_state, p->req.model_ver);
	} else {
		b03_pl_mcu_event(&f, p->req.kind, p->req.reason_or_conf, p->event_seq,
				 p->mcu_state, p->req.observed, p->req.threshold);
	}
	send_frame(&f);
	p->last_tx_ms = k_uptime_get();
	p->tries++;
}

static void send_telemetry(void)
{
	struct b03_frame f;
	struct eaa_status s;
	struct eaa_sensors sen;

	safety_get_status(&s);
	sensors_get(&sen);
	b03_pl_telemetry(&f, s.state, s.fault_reason, s.setpoint_mms, control_speed_mms(),
			 sen.current_ma, sen.temp_c10, sen.status, control_pwm_pm());
	send_frame(&f);
}

static void handle_frame(const struct b03_frame *f)
{
	struct b03_cmd c;
	struct b03_frame out;
	struct eaa_status s;
	int rc = b03_parse(f, &c);

	last_rx_seq = f->seq;
	if (rc == B03_R_UNKNOWN_CMD) {
		LOG_WRN("unknown msg type 0x%02x", f->type);
		return;
	}
	if (rc != 0) {
		LOG_WRN("short payload, type 0x%02x len %u", f->type, f->len);
		return;
	}

	switch (c.type) {
	case B03_MT_HELLO:
		safety_on_hello();
		safety_get_status(&s);
		b03_pl_hello_ack(&out, boot_id, CONFIG_EAA_FW_VERSION, s.state, s.fault_reason);
		send_frame(&out);
		if (!st.synced) {
			LOG_INF("HELLO from MPU, session 0x%08x, proto %u", c.session_id,
				c.proto_ver);
		}
		st.synced = true;
		break;
	case B03_MT_HEARTBEAT:
		safety_on_heartbeat();
		break;
	case B03_MT_EVENT_ACK:
		for (int i = 0; i < MAX_PENDING; i++) {
			if (pend[i].used && pend[i].event_seq == c.event_seq) {
				pend[i].used = false;
			}
		}
		break;
	default: {
		uint8_t reason;
		uint8_t result = safety_handle_cmd(&c, &reason);

		safety_get_status(&s);
		b03_pl_cmd_ack(&out, c.cmd_id, result, reason, s.state);
		send_frame(&out);
		LOG_INF("cmd 0x%02x id %u -> result %u reason 0x%02x state %u", c.type, c.cmd_id,
			result, reason, s.state);
		break;
	}
	}
}

static void process_rx(void)
{
	static uint8_t enc[RX_ENC_MAX];
	static size_t enc_len;
	static bool overflow;
	uint8_t byte;

	while (ring_buf_get(&rx_ring, &byte, 1) == 1) {
		if (byte != 0x00) {
			if (enc_len < sizeof(enc)) {
				enc[enc_len++] = byte;
			} else {
				overflow = true;
			}
			continue;
		}
		/* delimiter: one complete frame */
		if (enc_len > 0 && !overflow) {
			uint8_t raw[B03_MAX_FRAME];
			struct b03_frame f;
			int n = cobs_decode(enc, enc_len, raw, sizeof(raw));

			if (n < 0) {
				st.rx_bad_cobs++;
			} else if (b03_decode(raw, (size_t)n, &f) != B03_OK) {
				st.rx_bad_crc++;
			} else {
				st.rx_frames++;
				handle_frame(&f);
			}
		} else if (overflow) {
			st.rx_bad_cobs++;
		}
		enc_len = 0;
		overflow = false;
	}
}

static void drain_new_events(void)
{
	struct ev_req r;

	while (k_msgq_get(&ev_q, &r, K_NO_WAIT) == 0) {
		struct pending *slot = NULL;
		struct eaa_status s;

		for (int i = 0; i < MAX_PENDING; i++) {
			if (!pend[i].used) {
				slot = &pend[i];
				break;
			}
		}
		if (slot == NULL) { /* drop the oldest */
			slot = &pend[0];
			for (int i = 1; i < MAX_PENDING; i++) {
				if (pend[i].last_tx_ms < slot->last_tx_ms) {
					slot = &pend[i];
				}
			}
			LOG_WRN("pending events full, dropping event_seq %u", slot->event_seq);
		}
		safety_get_status(&s);
		event_seq = (uint16_t)(event_seq + 1);
		*slot = (struct pending){ .used = true, .event_seq = event_seq, .req = r,
					  .mcu_state = s.state };
		LOG_INF("%s event kind 0x%02x seq %u", r.voice ? "voice" : "mcu", r.kind,
			event_seq);
		send_event(slot);
	}
}

static void retransmit(int64_t now)
{
	for (int i = 0; i < MAX_PENDING; i++) {
		struct pending *p = &pend[i];

		if (!p->used || (now - p->last_tx_ms) < CONFIG_EAA_EVENT_RETX_MS) {
			continue;
		}
		if (p->tries > CONFIG_EAA_EVENT_RETX_MAX) {
			LOG_WRN("event_seq %u never acknowledged", p->event_seq);
			p->used = false;
			continue;
		}
		send_event(p);
		st.retx++;
	}
}

static void bridge_thread(void *a, void *b, void *c)
{
	int64_t next_telem = k_uptime_get();

	ARG_UNUSED(a);
	ARG_UNUSED(b);
	ARG_UNUSED(c);

	for (;;) {
		int64_t now = k_uptime_get();
		int64_t wait = next_telem - now;

		(void)k_sem_take(&rx_sem, K_MSEC(CLAMP(wait, 0, 10)));
		process_rx();
		drain_new_events();
		now = k_uptime_get();
		retransmit(now);
		if (now >= next_telem) {
			send_telemetry();
			next_telem += CONFIG_EAA_TELEMETRY_PERIOD_MS;
			if (next_telem < now) {
				next_telem = now + CONFIG_EAA_TELEMETRY_PERIOD_MS;
			}
		}
	}
}

K_THREAD_STACK_DEFINE(bridge_stack, 2048);
static struct k_thread bridge_tid;

int bridge_init(void)
{
	if (!device_is_ready(uart)) {
		LOG_ERR("bridge UART not ready");
		return -ENODEV;
	}
	boot_id = (uint16_t)(k_cycle_get_32() ^ (k_cycle_get_32() >> 16));
	uart_irq_callback_user_data_set(uart, uart_isr, NULL);
	uart_irq_rx_enable(uart);
	return 0;
}

void bridge_start(void)
{
	k_thread_create(&bridge_tid, bridge_stack, K_THREAD_STACK_SIZEOF(bridge_stack),
			bridge_thread, NULL, NULL, NULL, K_PRIO_PREEMPT(3), 0, K_NO_WAIT);
	k_thread_name_set(&bridge_tid, "bridge");
}
```

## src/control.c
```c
/* Belt control loop, CONFIG_EAA_CONTROL_PERIOD_US (default 10 ms = 100 Hz; the
 * derivation is in REPORT.md "Control loop rate"). Highest-priority cooperative
 * thread, woken by a k_timer.
 *
 *  - hard stop: safety trips and the E-stop interrupt already cut the driver
 *    directly (motor_kill, T1 in microseconds); this loop keeps it off
 *    (SAFE_STOP / E-stop pin open)
 *  - controlled stop (STOP, spoken "stop"): ramp the setpoint down, then disable
 *  - open loop (no encoder, CH-107): feed-forward pwm = offset + gain * setpoint
 *  - closed loop (encoder): feed-forward + PI on measured mm/s
 * It also measures its own period jitter for NFR-01 (<= 1 ms = 10 % of the period).
 */
#include <zephyr/kernel.h>
#include <zephyr/sys/atomic.h>
#include <zephyr/logging/log.h>
#include "eaa.h"

LOG_MODULE_REGISTER(control, LOG_LEVEL_INF);

#define PERIOD_US CONFIG_EAA_CONTROL_PERIOD_US

static K_SEM_DEFINE(tick_sem, 0, 1);
static struct k_timer tick_timer;
static atomic_t speed_mms;
static atomic_t pwm_pm;
static struct k_spinlock stat_lock;
static struct eaa_control_stats stats;

uint16_t control_speed_mms(void)
{
	return (uint16_t)atomic_get(&speed_mms);
}

uint16_t control_pwm_pm(void)
{
	return (uint16_t)atomic_get(&pwm_pm);
}

void control_get_stats(struct eaa_control_stats *out, bool reset)
{
	k_spinlock_key_t key = k_spin_lock(&stat_lock);

	*out = stats;
	if (reset) {
		stats.jitter_max_us = 0;
		stats.exec_max_us = 0;
	}
	k_spin_unlock(&stat_lock, key);
}

static void on_tick(struct k_timer *t)
{
	ARG_UNUSED(t);
	k_sem_give(&tick_sem);
}

static int32_t feed_forward(int32_t sp)
{
	if (sp <= 0) {
		return 0;
	}
	return CONFIG_EAA_OPENLOOP_PWM_OFFSET_PM + (sp * CONFIG_EAA_OPENLOOP_PWM_GAIN_X100) / 100;
}

static void control_thread(void *a, void *b, void *c)
{
	const int32_t ramp_per_tick_x1000 =
		(CONFIG_EAA_RAMP_MMS_PER_S * PERIOD_US) / 1000; /* mm/s * 1000 per tick */
	int32_t cmd_x1000 = 0;  /* ramped setpoint, mm/s * 1000 */
	int64_t integ = 0;      /* PI integrator, per mille * 1e6 */
	uint32_t last_cyc = 0;
	bool first = true;

	ARG_UNUSED(a);
	ARG_UNUSED(b);
	ARG_UNUSED(c);

	for (;;) {
		k_sem_take(&tick_sem, K_FOREVER);
		uint32_t t0 = k_cycle_get_32();

		/* --- jitter measurement --- */
		if (!first) {
			uint32_t dt_us = k_cyc_to_us_floor32(t0 - last_cyc);
			uint32_t j = dt_us > PERIOD_US ? dt_us - PERIOD_US : PERIOD_US - dt_us;
			k_spinlock_key_t key = k_spin_lock(&stat_lock);

			if (j > stats.jitter_max_us) {
				stats.jitter_max_us = j;
			}
			stats.loops++;
			k_spin_unlock(&stat_lock, key);
		}
		first = false;
		last_cyc = t0;

		/* --- decide --- */
		bool run, hard;
		uint16_t sp;

		safety_target(&run, &sp, &hard);
		if (sensors_estop_open_now()) {
			hard = true; /* do not wait for the 10 ms safety tick */
		}

		int32_t target_x1000 = (run && !hard) ? (int32_t)sp * 1000 : 0;

		if (hard) {
			motor_loop_saw_stop(); /* reference: old tick-based T1 */
			cmd_x1000 = 0;
			integ = 0;
		} else if (cmd_x1000 < target_x1000) {
			cmd_x1000 = MIN(cmd_x1000 + ramp_per_tick_x1000, target_x1000);
		} else if (cmd_x1000 > target_x1000) {
			cmd_x1000 = MAX(cmd_x1000 - ramp_per_tick_x1000, target_x1000);
		}
		int32_t cmd = cmd_x1000 / 1000;

		/* --- measure --- */
		int32_t meas = cmd; /* open loop: estimate = ramped setpoint */
#if IS_ENABLED(CONFIG_EAA_ENCODER)
		int32_t counts = encoder_take_counts();

		/* mm/s = counts / CPR * circ_um / 1000 / (period_us / 1e6) */
		meas = (int32_t)(((int64_t)counts * CONFIG_EAA_ROLLER_CIRC_UM * 1000) /
				 ((int64_t)CONFIG_EAA_ENC_COUNTS_PER_REV * PERIOD_US));
		if (meas < 0) {
			meas = -meas;
		}
#endif
		/* --- actuate --- */
		int32_t pwm = feed_forward(cmd);
#if IS_ENABLED(CONFIG_EAA_ENCODER)
		if (cmd > 0) {
			int32_t err = cmd - meas;

			integ += (int64_t)err * CONFIG_EAA_SPEED_KI_X1000 * PERIOD_US / 1000;
			integ = CLAMP(integ, -300000000LL, 300000000LL); /* +-300 per mille */
			pwm += (err * CONFIG_EAA_SPEED_KP_X1000) / 1000 + (int32_t)(integ / 1000000);
		} else {
			integ = 0;
		}
#endif
		pwm = CLAMP(pwm, 0, CONFIG_EAA_MAX_PWM_PM);
		bool enable = !hard && (cmd > 0);

		if (!enable) {
			pwm = 0;
		}
		motor_apply(enable, (uint16_t)pwm);
		atomic_set(&pwm_pm, pwm);
		atomic_set(&speed_mms, enable ? meas : 0);

		uint32_t exec_us = k_cyc_to_us_floor32(k_cycle_get_32() - t0);
		k_spinlock_key_t key = k_spin_lock(&stat_lock);

		if (exec_us > stats.exec_max_us) {
			stats.exec_max_us = exec_us;
		}
		k_spin_unlock(&stat_lock, key);
	}
}

K_THREAD_STACK_DEFINE(control_stack, 1024);
static struct k_thread control_tid;

void control_start(void)
{
	k_thread_create(&control_tid, control_stack, K_THREAD_STACK_SIZEOF(control_stack),
			control_thread, NULL, NULL, NULL, K_PRIO_COOP(1), 0, K_NO_WAIT);
	k_thread_name_set(&control_tid, "control");
	k_timer_init(&tick_timer, on_tick, NULL);
	k_timer_start(&tick_timer, K_USEC(PERIOD_US), K_USEC(PERIOD_US));
	LOG_INF("control loop %d us, %s", PERIOD_US,
		IS_ENABLED(CONFIG_EAA_ENCODER) ? "closed loop (encoder)" : "open loop");
}
```
